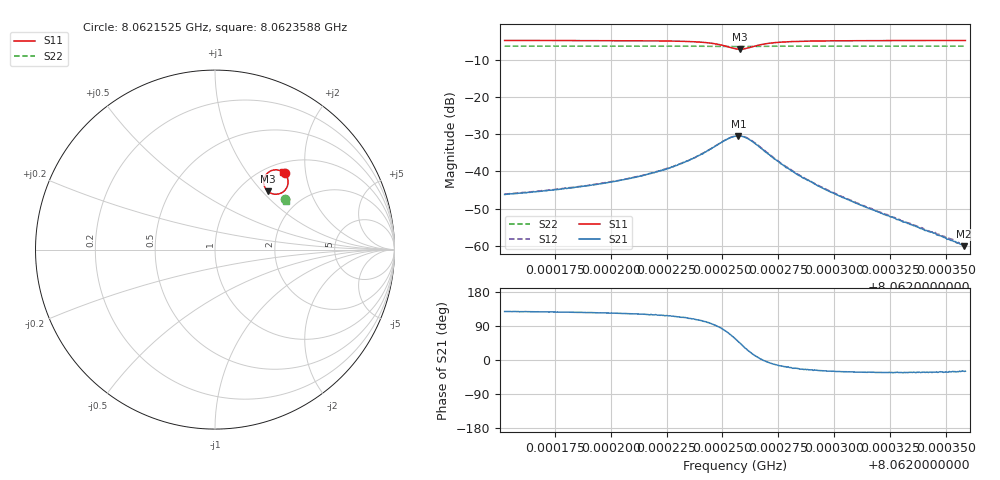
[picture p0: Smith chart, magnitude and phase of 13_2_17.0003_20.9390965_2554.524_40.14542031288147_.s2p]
#  HZ  S  RI  R  50.00
! Rohde & Schwarz Vector Network Analyzer
! Rohde-Schwarz,ZNB20-2Port,1311601062101988,3.16
! Created: UTC 3/20/2024, 10:52:40 PM
! freq[Hz]  re:S11  im:S11  re:S21  im:S21  re:S12  im:S12  re:S22  im:S22
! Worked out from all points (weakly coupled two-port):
!   401 points, 8.0621525 GHz to 8.0623588 GHz, reference 50 ohm
!   highest |S21| = -30.47 dB at 8.0622572 GHz (marker M1); lowest = -60.1 dB at 8.0623583 GHz (marker M2)
!   lowest |S11| = -7.2 dB at 8.0622577 GHz (marker M3), VSWR 2.56, Z = 67.2 + j53.9 ohm
!   |S11| at or under -10 dB: nowhere
!   |S22| runs from -6.4 to -6.3 dB; largest |S21 - S12| = 0.0016
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8.06215247e9  0.3879 0.4246  -0.00301 0.00386  -0.00281 0.00409  0.3913 0.2821
8.06218702e9  0.3938 0.4176  -0.00366 0.00509  -0.00337 0.00537  0.3924 0.28
8.06220456e9  0.398 0.4112  -0.00416 0.00637  -0.00379 0.00663  0.3932 0.2791
8.06222158e9  0.4034 0.3997  -0.00485 0.00894  -0.00421 0.00925  0.3938 0.2776
8.06223499e9  0.4073 0.3792  -0.00473 0.0132  -0.00414 0.0135  0.394 0.2762
8.06224479e9  0.4002 0.3461  -0.00226 0.0199  -0.00111 0.0201  0.3937 0.2743
8.0622515e9  0.3656 0.3138  0.00634 0.0257  0.0076 0.0256  0.3918 0.2731
8.06225562e9  0.3193 0.3113  0.0163 0.0248  0.0174 0.0241  0.3901 0.2736
8.06225717e9  0.301 0.3201  0.0199 0.0224  0.0211 0.0217  0.3895 0.2741
8.06225769e9  0.2956 0.3241  0.0209 0.0213  0.0221 0.0205  0.3891 0.2743
8.06225975e9  0.2786 0.3452  0.024 0.0161  0.0251 0.0153  0.3889 0.2754
8.06226233e9  0.2712 0.3754  0.0247 0.00944  0.0255 0.00844  0.389 0.2767
8.06226955e9  0.2951 0.4283  0.0179 -0.00126  0.0182 -0.00225  0.3912 0.2781
8.0622778e9  0.3251 0.4432  0.0113 -0.00357  0.0111 -0.0042  0.3928 0.2779
8.06228347e9  0.3382 0.4447  0.00843 -0.00342  0.00837 -0.004  0.3936 0.2776
8.06229018e9  0.3485 0.4439  0.00638 -0.00314  0.00619 -0.00356  0.3943 0.2772
8.06230359e9  0.3607 0.4411  0.00385 -0.0023  0.00381 -0.00252  0.3952 0.2762
8.06232474e9  0.3708 0.437  0.0021 -0.00134  0.00205 -0.00151  0.3962 0.275
8.06235207e9  0.3775 0.4331  0.00101 -0.000622  0.00102 -0.000712  0.3972 0.2733
8.06235465e9  0.3781 0.4328  0.000956 -0.000586  0.0009 -0.000637  0.3972 0.2732
8.06235826e9  0.3788 0.4323  0.000855 -0.000496  0.000851 -0.000569  0.3974 0.273
8.06235878e9  0.3787 0.4323  0.000864 -0.000492  0.000867 -0.000519  0.3976 0.2729
